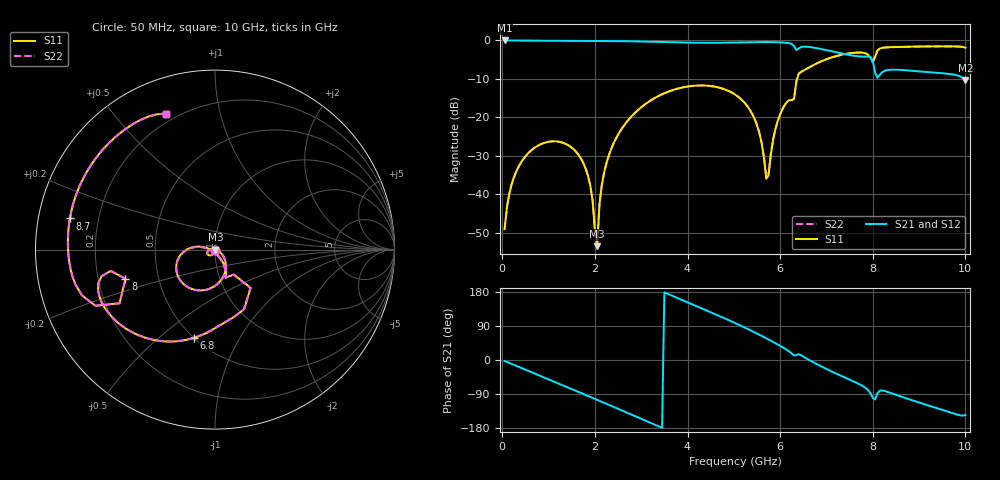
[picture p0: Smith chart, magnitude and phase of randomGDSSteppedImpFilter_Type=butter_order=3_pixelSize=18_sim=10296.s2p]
! freq	dB(S11)	phase(S11)	dB(S12)	phase(S12)
!  dB(S21)	phase(S21)	dB(S22)	phase(S22)
!S-par simulation data
#  GHz  S  DB  R 50
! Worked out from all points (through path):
!   200 points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, 50 MHz to 10 GHz, reference 50 ohm
!   highest |S21| = 0.00 dB at 50 MHz (marker M1); lowest = -10.3 dB at 10 GHz (marker M2)
!   group delay of S21, straight-line fit = 149 ps
!   lowest |S11| = -53.5 dB at 2.05 GHz (marker M3), VSWR 1.00, Z = 50.2 + j0.00621 ohm
!   |S11| at or under -10 dB: start of sweep to 6.367 GHz
!   |S22| runs from -51.9 to -1.5 dB; largest |S21 - S12| = 0
!   S11 on the Smith chart (normalised r, x): 50 MHz: 1.00, -0.01; 6.8 GHz: 0.50, -0.66; 8 GHz: 0.32, -0.14; 8.7 GHz: 0.10, +0.11; 10 GHz: 0.16, +0.69
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0.05  -49.10 -86.5  -0.00 -2.6  -0.00 -2.6  -49.10 -86.5
0.25  -35.63 -101.9  -0.02 -12.9  -0.02 -12.9  -35.63 -102.0
0.65  -28.34 -123.8  -0.05 -33.3  -0.05 -33.3  -28.34 -123.9
1.75  -31.90 178.3  -0.10 -89.7  -0.10 -89.7  -31.89 176.8
1.9  -37.75 169.2  -0.11 -97.5  -0.11 -97.5  -37.72 165.8
2.05  -53.51 1.7  -0.12 -105.3  -0.12 -105.3  -51.92 21.4
2.15  -37.52 -18.5  -0.13 -110.5  -0.13 -110.5  -37.46 -14.4
2.35  -28.28 -30.7  -0.15 -121.0  -0.15 -121.0  -28.27 -29.0
3.4  -14.29 -86.5  -0.39 -176.3  -0.39 -176.3  -14.28 -85.9
4.15  -11.78 -125.1  -0.59 144.5  -0.59 144.5  -11.78 -124.6
5.05  -14.27 -171.5  -0.52 96.2  -0.52 96.2  -14.26 -170.7
5.5  -22.04 168.2  -0.42 69.8  -0.42 69.8  -21.99 170.1
5.7  -36.00 -153.8  -0.41 57.2  -0.41 57.2  -34.84 -149.6
6  -19.20 -60.4  -0.51 37.3  -0.51 37.3  -19.17 -61.7
6.35  -10.70 -47.1  -2.52 13.0  -2.52 13.0  -10.72 -47.4
6.7  -6.53 -96.8  -1.82 -5.1  -1.82 -5.1  -6.53 -97.0
6.8  -5.92 -103.5  -2.04 -11.5  -2.04 -11.5  -5.91 -103.7
7.7  -3.15 -154.9  -4.15 -63.3  -4.15 -63.3  -3.15 -155.0
8  -5.61 -162.0  -5.26 -99.9  -5.26 -99.9  -5.61 -162.0
8.35  -1.77 -175.7  -7.65 -85.5  -7.65 -85.5  -1.77 -175.6
8.7  -1.65 167.9  -7.75 -100.2  -7.75 -100.2  -1.65 167.9
10  -1.88 109.7  -10.29 -145.2  -10.29 -145.2  -1.88 109.8
